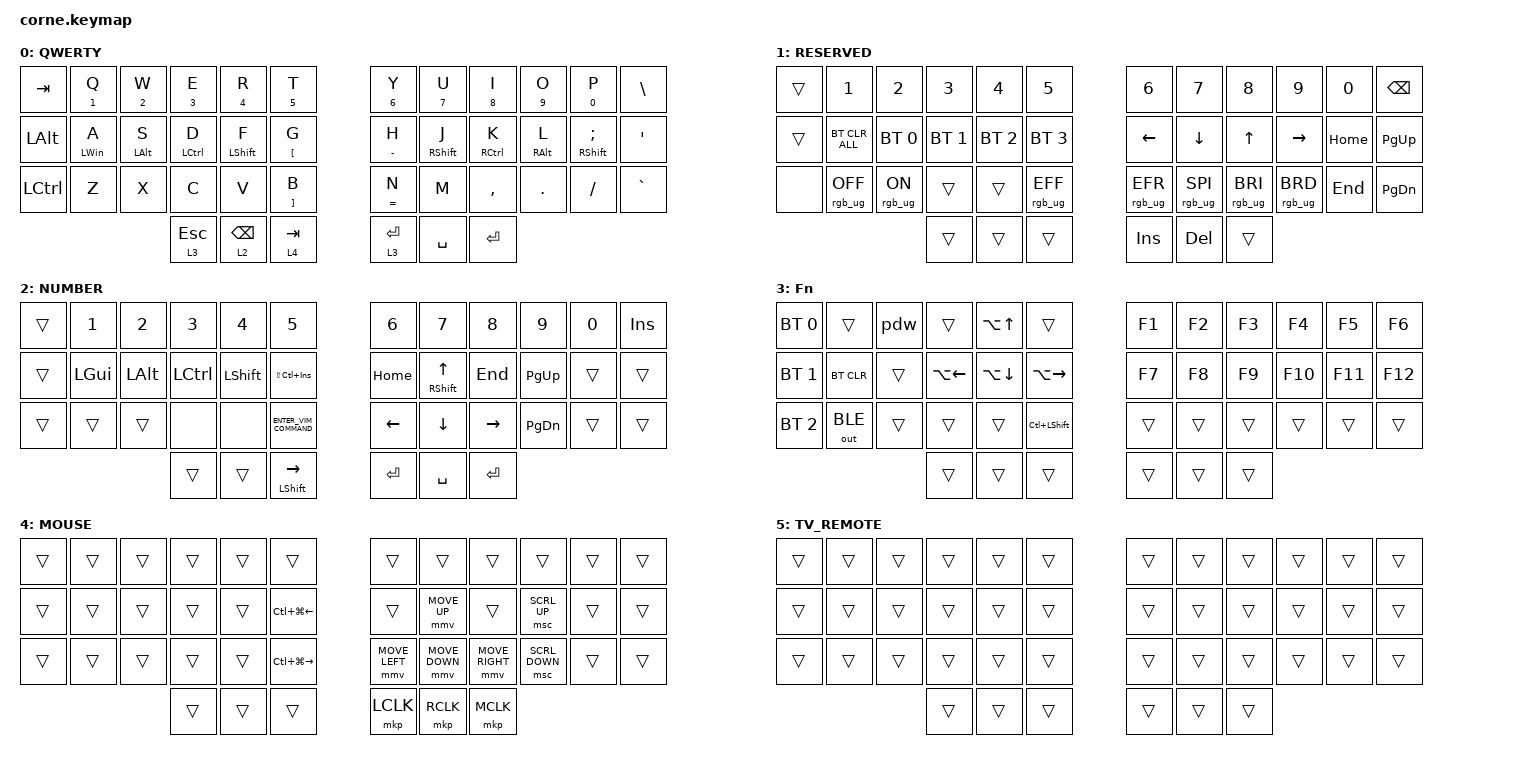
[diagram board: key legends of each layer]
/*
 * Copyright (c) 2020 The ZMK Contributors
 *
 * SPDX-License-Identifier: MIT
 */
//#include <dt-bindings/zmk/pointing.h>

#include <dt-bindings/zmk/mouse.h>
#include <behaviors.dtsi>
#include <dt-bindings/zmk/bt.h>
#include <dt-bindings/zmk/keys.h>
#include <dt-bindings/zmk/outputs.h>
//#include <dt-bindings/zmk/pointing.h>
#include <dt-bindings/zmk/rgb.h>

&mt { 
        flavor = "tap-preferred";
        tapping-term-ms = <200>;
        quick-tap-ms = <200>;
        require-prior-idle-ms = <125>;
    };

&lt { 
        flavor = "tap-preferred";
        tapping-term-ms = <200>;
        quick-tap-ms = <200>;
        require-prior-idle-ms = <125>;
    };

/ {
    chosen {
        zmk,matrix_transform = &default_transform;

        // zmk,matrix_transform = &five_column_transform;
    };
};

/ {
    behaviors {
        td0: td0 {
            compatible = "zmk,behavior-tap-dance";
            label = "TD0";
            #binding-cells = <0>;
            bindings = <&kp LEFT_SHIFT>, <&kp CAPS>;
        };
    };

    combos {
        compatible = "zmk,combos";
        BT_CLEAR {
             bindings = <&CL_BT>;
             key-positions = <0 12 24>;
        };
    };

    macros {
        pdw: new_macro {
            compatible = "zmk,behavior-macro";
            #binding-cells = <0>;
            bindings = <&none &kp AT &kp LS(T) &kp I &kp N0 &kp N2 &kp C &kp A &kp N0 &kp N9>;
            label = "NEW_MACRO";
        };

        ENTER_VIM_COMMAND: ENTER_VIM_COMMAND {
            compatible = "zmk,behavior-macro";
            #binding-cells = <0>;
            bindings = <&kp ESCAPE &kp COLON>;
            label = "ENTER_VIM_COMMAND";
        };
        EN_BT0: EN_BT0 {
            compatible = "zmk,behavior-macro";
            #binding-cells = <0>;
             bindings = <&bt BT_SEL 0 &rgb_ug RGB_TOG>
                    ,<&macro_pause_for_release>
                    ,<&rgb_ug RGB_TOG>
                    ;
            label = "EN_BT0";
        };
        EN_BT1: EN_BT1 {
            compatible = "zmk,behavior-macro";
            #binding-cells = <0>;
             bindings = <&bt BT_SEL 1 &rgb_ug RGB_TOG>
                    ,<&macro_pause_for_release>
                    ,<&rgb_ug RGB_TOG>
                    ;
            label = "EN_BT1";
        };
        EN_BT2: EN_BT2 {
            compatible = "zmk,behavior-macro";
            #binding-cells = <0>;
             bindings = <&bt BT_SEL 2 &rgb_ug RGB_TOG>
                    ,<&macro_pause_for_release>
                    ,<&rgb_ug RGB_TOG>
                    ;
            label = "EN_BT2";
        };
        CL_BT:CL_BT0 {
            compatible = "zmk,behavior-macro";
            #binding-cells = <0>;
            bindings = <&bt BT_CLR &rgb_ug RGB_TOG>,<&macro_pause_for_release>,<&rgb_ug RGB_TOG>;
             label = "CL_BT0";
        };

    };

keymap {
        compatible = "zmk,keymap";

        default_layer {
            display-name = "QWERTY";

            // --------------------------------------------------------------------------------
            // |  TAB |  Q  |  W  |  E  |  R  |  T  |   |  Y  |  U   |  I  |  O  |  P  | BKSP |
            // | CTRL |  A  |  S  |  D  |  F  |  G  |   |  H  |  J   |  K  |  L  |  ;  |  '   | 
            // | SHFT |  Z  |  X  |  C  |  V  |  B  |   |  N  |  M   |  ,  |  .  |  /  | ESC  |
            //                    | GUI | LWR | SPC |   | ENT | RSE  | ALT |

            bindings = <
&kp TAB    &mt N1 Q        &mt NUMBER_2 W  &mt NUMBER_3 E      &mt N4 R          &mt N5 T               &mt NUMBER_6 Y  &mt N7 U           &mt N8 I     &mt N9 O         &mt N0 P                   &kp BSLH
&kp LALT   &mt LEFT_WIN A  &mt LEFT_ALT S  &mt LEFT_CONTROL D  &mt LEFT_SHIFT F  &mt LEFT_BRACKET G     &mt MINUS H     &mt RIGHT_SHIFT J  &mt RCTRL K  &mt RIGHT_ALT L  &mt RIGHT_SHIFT SEMICOLON  &kp SQT
&kp LCTRL  &kp Z           &kp X           &kp C               &kp V             &mt RIGHT_BRACKET B    &mt EQUAL N     &kp M              &kp COMMA    &kp DOT          &kp FSLH                   &kp GRAVE
                                           &lt 3 ESCAPE        &lt 2 BACKSPACE   &lt 4 TAB              &lt 3 ENTER     &kp SPACE          &kp ENTER
>;
        };

        lower_layer {
            display-name = "RESERVED";

            // -----------------------------------------------------------------------------------------
            // |  TAB |  1  |  2  |  3  |  4  |  5  |   |  6  |  7  |  8  |  9  |  0  | BKSP |
            // | BTCLR| BT1 | BT2 | BT3 | BT4 | BT5 |   | LFT | DWN |  UP | RGT |     |      |
            // | SHFT |     |     |     |     |     |   |     |     |     |     |     |      |
            //                    | GUI |     | SPC |   | ENT |     | ALT |

            bindings = <
&trans  &kp N1           &kp N2          &kp N3        &kp N4        &kp N5             &kp N6           &kp N7           &kp N8           &kp N9           &kp N0    &kp BSPC
&trans  &bt BT_CLR_ALL   &bt BT_SEL 0    &bt BT_SEL 1  &bt BT_SEL 2  &bt BT_SEL 3       &kp LEFT         &kp DOWN         &kp UP           &kp RIGHT        &kp HOME  &kp PG_UP
&none   &rgb_ug RGB_OFF  &rgb_ug RGB_ON  &trans        &trans        &rgb_ug RGB_EFF    &rgb_ug RGB_EFR  &rgb_ug RGB_SPI  &rgb_ug RGB_BRI  &rgb_ug RGB_BRD  &kp END   &kp PG_DN
                                         &trans        &trans        &trans             &kp INS          &kp DEL          &trans
>;
        };

        raise_layer {
            display-name = "NUMBER";

            // -----------------------------------------------------------------------------------------
            // |  TAB |  !  |  @  |  #  |  $  |  %  |   |  ^  |  &  |  *  |  (  |  )  | BKSP |
            // | CTRL |     |     |     |     |     |   |  -  |  =  |  [  |  ]  |  \  |  `   |
            // | SHFT |     |     |     |     |     |   |  _  |  +  |  {  |  }  | "|" |  ~   |
            //                    | GUI |     | SPC |   | ENT |     | ALT |

            bindings = <
&trans  &kp N1        &kp NUMBER_2  &kp NUMBER_3  &kp NUMBER_4    &kp N5                        &kp NUMBER_6  &kp N7                    &kp N8           &kp N9         &kp N0  &kp INSERT
&trans  &kp LEFT_GUI  &kp LEFT_ALT  &kp LCTRL     &kp LEFT_SHIFT  &kp LS(LC(INSERT))            &kp HOME      &mt RIGHT_SHIFT UP_ARROW  &kp END          &kp PAGE_UP    &trans  &trans
&trans  &trans        &trans        &none         &none           &ENTER_VIM_COMMAND            &kp LEFT      &kp DOWN_ARROW            &kp RIGHT_ARROW  &kp PAGE_DOWN  &trans  &trans
                                    &trans        &trans          &mt LEFT_SHIFT RIGHT_ARROW    &kp RET       &kp SPACE                 &kp ENTER
>;
        };

        layer_3 {
            display-name = "Fn";
            bindings = <
&bt BT_SEL 0  &trans        &pdw    &trans              &kp LA(UP_ARROW)    &trans                 &kp F1  &kp F2  &kp F3  &kp F4   &kp F5   &kp F6
&bt BT_SEL 1  &bt BT_CLR    &trans  &kp LA(LEFT_ARROW)  &kp LA(DOWN_ARROW)  &kp LA(RIGHT_ARROW)    &kp F7  &kp F8  &kp F9  &kp F10  &kp F11  &kp F12
&bt BT_SEL 2  &out OUT_BLE  &trans  &trans              &trans              &kp LC(LEFT_SHIFT)     &trans  &trans  &trans  &trans   &trans   &trans
                                    &trans              &trans              &trans                 &trans  &trans  &trans
>;
        };

        layer_4 {
            display-name = "MOUSE";
            bindings = <
&trans  &trans  &trans  &trans  &trans  &trans                    &trans          &trans          &trans           &trans          &trans  &trans
&trans  &trans  &trans  &trans  &trans  &kp LC(LG(LEFT_ARROW))    &trans          &mmv MOVE_UP    &trans           &msc SCRL_UP    &trans  &trans
&trans  &trans  &trans  &trans  &trans  &kp LC(LG(RIGHT))         &mmv MOVE_LEFT  &mmv MOVE_DOWN  &mmv MOVE_RIGHT  &msc SCRL_DOWN  &trans  &trans
                        &trans  &trans  &trans                    &mkp LCLK       &mkp RCLK       &mkp MCLK
>;
        };

        layer_5 {
            bindings = <
&trans  &trans  &trans  &trans  &trans  &trans    &trans  &trans  &trans  &trans  &trans  &trans
&trans  &trans  &trans  &trans  &trans  &trans    &trans  &trans  &trans  &trans  &trans  &trans
&trans  &trans  &trans  &trans  &trans  &trans    &trans  &trans  &trans  &trans  &trans  &trans
                        &trans  &trans  &trans    &trans  &trans  &trans
>;

            label = "TV_REMOTE";
        };
    };

    conditional_layers { compatible = "zmk,conditional-layers"; };
};
